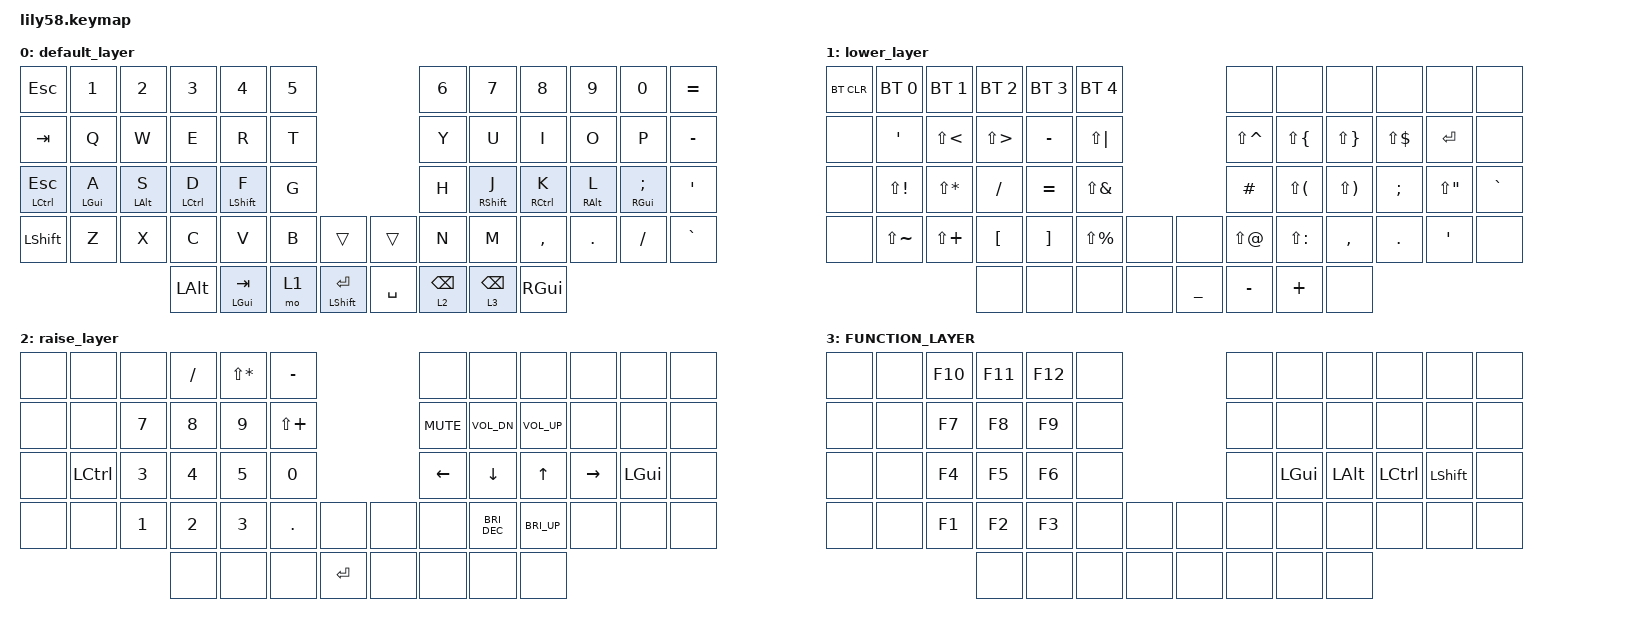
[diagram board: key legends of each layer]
/*
 * Copyright (c) 2020 The ZMK Contributors
 *
 * SPDX-License-Identifier: MIT
 */

#include <behaviors.dtsi>
#include <dt-bindings/zmk/bt.h>
#include <dt-bindings/zmk/keys.h>

/ {
    behaviors {
        hml: hml {
            compatible = "zmk,behavior-hold-tap";
            label = "HOMEROW_MODS_LEFT";
            bindings = <&kp>, <&kp>;

            #binding-cells = <2>;
            tapping-term-ms = <280>;
            quick-tap-ms = <175>;
            flavor = "balanced";
            hold-trigger-on-release;
            hold-trigger-key-positions = <43 54 50 51 52 53 6 7 8 18 19 20 30 31 32 44 45 46 55 56 57 10 11 20 21 22 23 32 33 34 35 46 47 48 49 56 57 9>;
        };

        hmr: hmr {
            compatible = "zmk,behavior-hold-tap";
            label = "HOMEROW_MOD_RIGHT";
            bindings = <&kp>, <&kp>;

            #binding-cells = <2>;
            tapping-term-ms = <280>;
            quick-tap-ms = <175>;
            flavor = "balanced";
            hold-trigger-key-positions = <3 0 1 2 3 4 5 12 13 14 15 16 17 24 25 26 27 28 29 36 37 38 39 40 41 42 50 51 52 53 54 55 56 57>;
            hold-trigger-on-release;
        };

        tm: tm {
            compatible = "zmk,behavior-hold-tap";
            label = "THUMB_MODS";
            bindings = <&kp>, <&kp>;

            #binding-cells = <2>;
            tapping-term-ms = <280>;
            quick-tap-ms = <175>;
            flavor = "balanced";
            hold-trigger-on-release;
            hold-trigger-key-positions = <0 1 2 3 4 5 6 7 8 9 10 11 12 13 14 15 16 17 18 19 20 21 22 23 24 25 26 27 28 29 30 31 32 33 34 35 36 37 38 39 40 41 42 43 44 45 46 47 48 49 50 51 52 53 54 55 56 57>;
        };
    };

    keymap {
        compatible = "zmk,keymap";

        default_layer {
            // ------------------------------------------------------------------------------------------------------------
            // |  ESC  |  1  |  2  |  3   |  4   |  5   |                   |  6   |  7    |  8    |  9   |   0   |   `   |
            // |  TAB  |  Q  |  W  |  E   |  R   |  T   |                   |  Y   |  U    |  I    |  O   |   P   |   -   |
            // |  CTRL |  A  |  S  |  D   |  F   |  G   |                   |  H   |  J    |  K    |  L   |   ;   |   '   |
            // | SHIFT |  Z  |  X  |  C   |  V   |  B   |   "["  |  |  "]"  |  N   |  M    |  ,    |  .   |   /   | SHIFT |
            //                     | ALT  | GUI  | LOWER|  SPACE |  | ENTER | RAISE| BSPC  | GUI   |

            bindings = <
&kp ESC            &kp N1       &kp N2           &kp N3               &kp N4            &kp N5                                     &kp N6           &kp N7           &kp N8                &kp N9            &kp N0          &kp EQUAL
&kp TAB            &kp Q        &kp W            &kp E                &kp R             &kp T                                      &kp Y            &kp U            &kp I                 &kp O             &kp P           &kp MINUS
&hml LCTRL ESCAPE  &hml LGUI A  &hml LEFT_ALT S  &hml LEFT_CONTROL D  &hml LSHIFT F     &kp G                                      &kp H            &hmr RSHIFT J    &hmr RIGHT_CONTROL K  &hmr RIGHT_ALT L  &hmr RGUI SEMI  &kp SQT
&kp LSHFT          &kp Z        &kp X            &kp C                &kp V             &kp B   &trans                  &trans     &kp N            &kp M            &kp COMMA             &kp DOT           &kp FSLH        &kp GRAVE
                                                 &kp LALT             &tm LEFT_GUI TAB  &mo 1   &tm LEFT_SHIFT ENTER    &kp SPACE  &lt 2 BACKSPACE  &lt 3 BACKSPACE  &kp RGUI
            >;
        };

        lower_layer {
            // ------------------------------------------------------------------------------------------------------------
            // | BTCLR | BT1 | BT2 |  BT3 |  BT4 |  BT5 |                   |      |       |       |      |       |       |
            // |  F1   |  F2 |  F3 |  F4  |  F5  |  F6  |                   |  F7  |  F8   |  F9   |  F10 |  F11  |  F12  |
            // |   `   |  !  |  @  |  #   |  $   |  %   |                   |  ^   |  &    |  *    |  (   |   )   |   ~   |
            // |       |     |     |      |      |      |        |  |       |      |  _    |  +    |  {   |   }   |  "|"  |
            //                     |      |      |      |        |  |       |      |       |       |

            bindings = <
&bt BT_CLR  &bt BT_SEL 0   &bt BT_SEL 1  &bt BT_SEL 2  &bt BT_SEL 3  &bt BT_SEL 4                            &none          &none          &none         &none         &none        &none
&none       &kp SQT        &kp LS(LT)    &kp LS(GT)    &kp MINUS     &kp LS(PIPE)                            &kp LS(CARET)  &kp LS(LBRC)   &kp LS(RBRC)  &kp LS(DLLR)  &kp RET      &none
&none       &kp LS(EXCL)   &kp LS(STAR)  &kp FSLH      &kp EQUAL     &kp LS(AMPS)                            &kp HASH       &kp LS(LPAR)   &kp LS(RPAR)  &kp SEMI      &kp LS(DQT)  &kp GRAVE
&none       &kp LS(TILDE)  &kp LS(PLUS)  &kp LBKT      &kp RBKT      &kp LS(PRCNT)  &none    &none           &kp LS(AT)     &kp LS(COLON)  &kp COMMA     &kp DOT       &kp SQT      &none
                                         &none         &none         &none          &none    &kp UNDERSCORE  &kp MINUS      &kp PLUS       &none
            >;
        };

        raise_layer {
            // ------------------------------------------------------------------------------------------------------------
            // |       |     |     |      |      |      |                   |      |       |       |      |       |       |
            // |   `   |  1  |  2  |  3   |  4   |  5   |                   |  6   |   7   |   8   |  9   |   0   |       |
            // |   F1  |  F2 |  F3 |  F4  |  F5  |  F6  |                   |      |   <-  |   v   |  ^   |  ->   |       |
            // |   F7  |  F8 |  F9 |  F10 |  F11 |  F12 |        |  |       |  +   |   -   |   =   |  [   |   ]   |   \   |
            //                     |      |      |      |        |  |       |      |       |       |

            bindings = <
&none  &none      &none   &kp FSLH  &kp LS(STAR)  &kp MINUS                       &none       &none                 &none            &none      &none     &none
&none  &none      &kp N7  &kp N8    &kp N9        &kp LS(PLUS)                    &kp C_MUTE  &kp C_VOL_DN          &kp C_VOLUME_UP  &none      &none     &none
&none  &kp LCTRL  &kp N3  &kp N4    &kp N5        &kp N0                          &kp LEFT    &kp DOWN              &kp UP           &kp RIGHT  &kp LGUI  &none
&none  &none      &kp N1  &kp N2    &kp N3        &kp DOT       &none      &none  &none       &kp C_BRIGHTNESS_DEC  &kp C_BRI_UP     &none      &none     &none
                          &none     &none         &none         &kp RET    &none  &none       &none                 &none
            >;
        };

        FUNCTION_LAYER {
            bindings = <
&none  &none  &kp F10  &kp F11  &kp F12  &none                  &none  &none     &none     &none      &none      &none
&none  &none  &kp F7   &kp F8   &kp F9   &none                  &none  &none     &none     &none      &none      &none
&none  &none  &kp F4   &kp F5   &kp F6   &none                  &none  &kp LGUI  &kp LALT  &kp LCTRL  &kp LSHFT  &none
&none  &none  &kp F1   &kp F2   &kp F3   &none  &none    &none  &none  &none     &none     &none      &none      &none
                       &none    &none    &none  &none    &none  &none  &none     &none
            >;
        };
    };
};
